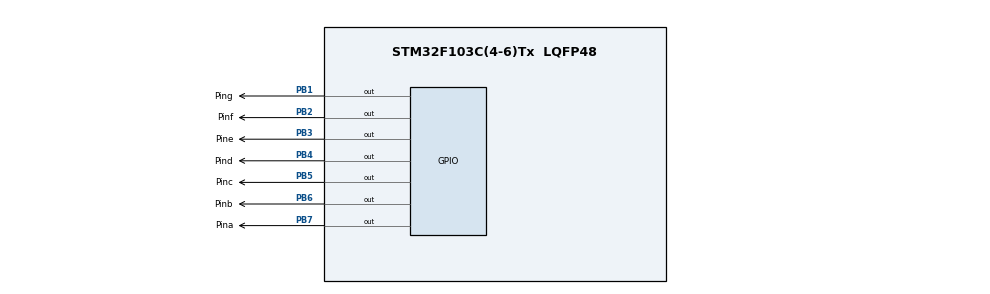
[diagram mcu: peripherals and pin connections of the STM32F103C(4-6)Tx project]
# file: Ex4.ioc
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Mcu.Family=STM32F1
Mcu.Name=STM32F103C(4-6)Tx
Mcu.Package=LQFP48
NVIC.PriorityGroup=NVIC_PRIORITYGROUP_4
PB1.GPIO_Label=Ping
PB1.Signal=GPIO_Output
PB2.GPIO_Label=Pinf
PB2.Signal=GPIO_Output
PB3.GPIO_Label=Pine
PB3.Signal=GPIO_Output
PB4.GPIO_Label=Pind
PB4.Signal=GPIO_Output
PB5.GPIO_Label=Pinc
PB5.Signal=GPIO_Output
PB6.GPIO_Label=Pinb
PB6.Signal=GPIO_Output
PB7.GPIO_Label=Pina
PB7.Signal=GPIO_Output
ProjectManager.HeapSize=0x200
ProjectManager.StackSize=0x400
ProjectManager.TargetToolchain=STM32CubeIDE
RCC.APB1Freq_Value=8000000
RCC.APB2Freq_Value=8000000
VP_SYS_VS_ND.Mode=No_Debug
board=custom

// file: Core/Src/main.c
/* USER CODE BEGIN Header */
/**
  ******************************************************************************
  * @file           : main.c
  * @brief          : Main program body
  ******************************************************************************
  * @attention
  *
  * <h2><center>&copy; Copyright (c) 2023 STMicroelectronics.
  * All rights reserved.</center></h2>
  *
  * This software component is licensed by ST under BSD 3-Clause license,
  * the "License"; You may not use this file except in compliance with the
  * License. You may obtain a copy of the License at:
  *                        opensource.org/licenses/BSD-3-Clause
  *
  ******************************************************************************
  */
/* USER CODE END Header */
#include "main.h"

void SystemClock_Config(void);
static void MX_GPIO_Init(void);

/* USER CODE BEGIN 0 */
void display7SEG(int num){
	if(num ==0){
			  HAL_GPIO_WritePin(Pina_GPIO_Port, Pina_Pin, RESET);
			  HAL_GPIO_WritePin(Pinb_GPIO_Port, Pinb_Pin, RESET);
			  HAL_GPIO_WritePin(Pinc_GPIO_Port, Pinc_Pin, RESET);
			  HAL_GPIO_WritePin(Pind_GPIO_Port, Pind_Pin, RESET);
			  HAL_GPIO_WritePin(Pine_GPIO_Port, Pine_Pin, RESET);
			  HAL_GPIO_WritePin(Pinf_GPIO_Port, Pinf_Pin, RESET);
			  HAL_GPIO_WritePin(Ping_GPIO_Port, Ping_Pin, SET);
		  }
		  if(num == 1){
			  HAL_GPIO_WritePin(Pina_GPIO_Port, Pina_Pin, SET);
			  HAL_GPIO_WritePin(Pinb_GPIO_Port, Pinb_Pin, RESET);
			  HAL_GPIO_WritePin(Pinc_GPIO_Port, Pinc_Pin, RESET);
			  HAL_GPIO_WritePin(Pind_GPIO_Port, Pind_Pin, SET);
			  HAL_GPIO_WritePin(Pine_GPIO_Port, Pine_Pin, SET);
			  HAL_GPIO_WritePin(Pinf_GPIO_Port, Pinf_Pin, SET);
			  HAL_GPIO_WritePin(Ping_GPIO_Port, Ping_Pin, SET);
		  }
		  if(num == 2){
			  HAL_GPIO_WritePin(Pina_GPIO_Port, Pina_Pin, RESET);
			  HAL_GPIO_WritePin(Pinb_GPIO_Port, Pinb_Pin, RESET);
			  HAL_GPIO_WritePin(Pinc_GPIO_Port, Pinc_Pin, SET);
			  HAL_GPIO_WritePin(Pind_GPIO_Port, Pind_Pin, RESET);
			  HAL_GPIO_WritePin(Pine_GPIO_Port, Pine_Pin, RESET);
			  HAL_GPIO_WritePin(Pinf_GPIO_Port, Pinf_Pin, SET);
			  HAL_GPIO_WritePin(Ping_GPIO_Port, Ping_Pin, RESET);
		  }
		  if(num == 3){
			  HAL_GPIO_WritePin(Pina_GPIO_Port, Pina_Pin, RESET);
			  HAL_GPIO_WritePin(Pinb_GPIO_Port, Pinb_Pin, RESET);
			  HAL_GPIO_WritePin(Pinc_GPIO_Port, Pinc_Pin, RESET);
			  HAL_GPIO_WritePin(Pind_GPIO_Port, Pind_Pin, RESET);
			  HAL_GPIO_WritePin(Pine_GPIO_Port, Pine_Pin, SET);
			  HAL_GPIO_WritePin(Pinf_GPIO_Port, Pinf_Pin, SET);
			  HAL_GPIO_WritePin(Ping_GPIO_Port, Ping_Pin, RESET);
		  }
		  if(num == 4){
			  HAL_GPIO_WritePin(Pina_GPIO_Port, Pina_Pin, SET);
			  HAL_GPIO_WritePin(Pinb_GPIO_Port, Pinb_Pin, RESET);
			  HAL_GPIO_WritePin(Pinc_GPIO_Port, Pinc_Pin, RESET);
			  HAL_GPIO_WritePin(Pind_GPIO_Port, Pind_Pin, SET);
			  HAL_GPIO_WritePin(Pine_GPIO_Port, Pine_Pin, SET);
			  HAL_GPIO_WritePin(Pinf_GPIO_Port, Pinf_Pin, RESET);
			  HAL_GPIO_WritePin(Ping_GPIO_Port, Ping_Pin, RESET);
		  }
		  if(num == 5){
			  HAL_GPIO_WritePin(Pina_GPIO_Port, Pina_Pin, RESET);
			  HAL_GPIO_WritePin(Pinb_GPIO_Port, Pinb_Pin, SET);
			  HAL_GPIO_WritePin(Pinc_GPIO_Port, Pinc_Pin, RESET);
			  HAL_GPIO_WritePin(Pind_GPIO_Port, Pind_Pin, RESET);
			  HAL_GPIO_WritePin(Pine_GPIO_Port, Pine_Pin, SET);
			  HAL_GPIO_WritePin(Pinf_GPIO_Port, Pinf_Pin, RESET);
			  HAL_GPIO_WritePin(Ping_GPIO_Port, Ping_Pin, RESET);
		  }
		  if(num == 6){
			  HAL_GPIO_WritePin(Pina_GPIO_Port, Pina_Pin, RESET);
			  HAL_GPIO_WritePin(Pinb_GPIO_Port, Pinb_Pin, SET);
			  HAL_GPIO_WritePin(Pinc_GPIO_Port, Pinc_Pin, RESET);
			  HAL_GPIO_WritePin(Pind_GPIO_Port, Pind_Pin, RESET);
			  HAL_GPIO_WritePin(Pine_GPIO_Port, Pine_Pin, RESET);
			  HAL_GPIO_WritePin(Pinf_GPIO_Port, Pinf_Pin, RESET);
			  HAL_GPIO_WritePin(Ping_GPIO_Port, Ping_Pin, RESET);
		  }
		  if(num == 7){
			  HAL_GPIO_WritePin(Pina_GPIO_Port, Pina_Pin, RESET);
			  HAL_GPIO_WritePin(Pinb_GPIO_Port, Pinb_Pin, RESET);
			  HAL_GPIO_WritePin(Pinc_GPIO_Port, Pinc_Pin, RESET);
			  HAL_GPIO_WritePin(Pind_GPIO_Port, Pind_Pin, SET);
			  HAL_GPIO_WritePin(Pine_GPIO_Port, Pine_Pin, SET);
			  HAL_GPIO_WritePin(Pinf_GPIO_Port, Pinf_Pin, SET);
			  HAL_GPIO_WritePin(Ping_GPIO_Port, Ping_Pin, SET);
		  }
		  if(num == 8){
			  HAL_GPIO_WritePin(Pina_GPIO_Port, Pina_Pin, RESET);
			  HAL_GPIO_WritePin(Pinb_GPIO_Port, Pinb_Pin, RESET);
			  HAL_GPIO_WritePin(Pinc_GPIO_Port, Pinc_Pin, RESET);
			  HAL_GPIO_WritePin(Pind_GPIO_Port, Pind_Pin, RESET);
			  HAL_GPIO_WritePin(Pine_GPIO_Port, Pine_Pin, RESET);
			  HAL_GPIO_WritePin(Pinf_GPIO_Port, Pinf_Pin, RESET);
			  HAL_GPIO_WritePin(Ping_GPIO_Port, Ping_Pin, RESET);
		  }
		  if(num == 9){
			  HAL_GPIO_WritePin(Pina_GPIO_Port, Pina_Pin, RESET);
			  HAL_GPIO_WritePin(Pinb_GPIO_Port, Pinb_Pin, RESET);
			  HAL_GPIO_WritePin(Pinc_GPIO_Port, Pinc_Pin, RESET);
			  HAL_GPIO_WritePin(Pind_GPIO_Port, Pind_Pin, RESET);
			  HAL_GPIO_WritePin(Pine_GPIO_Port, Pine_Pin, RESET);
			  HAL_GPIO_WritePin(Pinf_GPIO_Port, Pinf_Pin, SET);
			  HAL_GPIO_WritePin(Ping_GPIO_Port, Ping_Pin, RESET);
		  }

}
/* USER CODE END 0 */

int main(void)
{

  /* MCU Configuration--------------------------------------------------------*/

  /* Reset of all peripherals, Initializes the Flash interface and the Systick. */
  HAL_Init();

  /* Configure the system clock */
  SystemClock_Config();

  /* Initialize all configured peripherals */
  MX_GPIO_Init();

  /* Infinite loop */
  /* USER CODE BEGIN WHILE */
  int counter=10;
  while (1)
  {
	  if(counter >=10) counter=0;
	  display7SEG(counter);
	  counter++;
	  HAL_Delay(1000);
    /* USER CODE END WHILE */

  }
}

void SystemClock_Config(void)
{
  RCC_OscInitTypeDef RCC_OscInitStruct = {0};
  RCC_ClkInitTypeDef RCC_ClkInitStruct = {0};

  /** Initializes the RCC Oscillators according to the specified parameters
  * in the RCC_OscInitTypeDef structure.
  */
  RCC_OscInitStruct.OscillatorType = RCC_OSCILLATORTYPE_HSI;
  RCC_OscInitStruct.HSIState = RCC_HSI_ON;
  RCC_OscInitStruct.HSICalibrationValue = RCC_HSICALIBRATION_DEFAULT;
  RCC_OscInitStruct.PLL.PLLState = RCC_PLL_NONE;
  if (HAL_RCC_OscConfig(&RCC_OscInitStruct) != HAL_OK)
  {
    Error_Handler();
  }
  /** Initializes the CPU, AHB and APB buses clocks
  */
  RCC_ClkInitStruct.ClockType = RCC_CLOCKTYPE_HCLK|RCC_CLOCKTYPE_SYSCLK
                              |RCC_CLOCKTYPE_PCLK1|RCC_CLOCKTYPE_PCLK2;
  RCC_ClkInitStruct.SYSCLKSource = RCC_SYSCLKSOURCE_HSI;
  RCC_ClkInitStruct.AHBCLKDivider = RCC_SYSCLK_DIV1;
  RCC_ClkInitStruct.APB1CLKDivider = RCC_HCLK_DIV1;
  RCC_ClkInitStruct.APB2CLKDivider = RCC_HCLK_DIV1;

  if (HAL_RCC_ClockConfig(&RCC_ClkInitStruct, FLASH_LATENCY_0) != HAL_OK)
  {
    Error_Handler();
  }
}

static void MX_GPIO_Init(void)
{
  GPIO_InitTypeDef GPIO_InitStruct = {0};

  /* GPIO Ports Clock Enable */
  __HAL_RCC_GPIOB_CLK_ENABLE();

  /*Configure GPIO pin Output Level */
  HAL_GPIO_WritePin(GPIOB, Ping_Pin|Pinf_Pin|Pine_Pin|Pind_Pin
                          |Pinc_Pin|Pinb_Pin|Pina_Pin, GPIO_PIN_RESET);

  /*Configure GPIO pins : Ping_Pin Pinf_Pin Pine_Pin Pind_Pin
                           Pinc_Pin Pinb_Pin Pina_Pin */
  GPIO_InitStruct.Pin = Ping_Pin|Pinf_Pin|Pine_Pin|Pind_Pin
                          |Pinc_Pin|Pinb_Pin|Pina_Pin;
  GPIO_InitStruct.Mode = GPIO_MODE_OUTPUT_PP;
  GPIO_InitStruct.Pull = GPIO_NOPULL;
  GPIO_InitStruct.Speed = GPIO_SPEED_FREQ_LOW;
  HAL_GPIO_Init(GPIOB, &GPIO_InitStruct);

}

void Error_Handler(void)
{
  __disable_irq();
  while (1)
  {
  }
}

/************************ (C) COPYRIGHT STMicroelectronics *****END OF FILE****/
